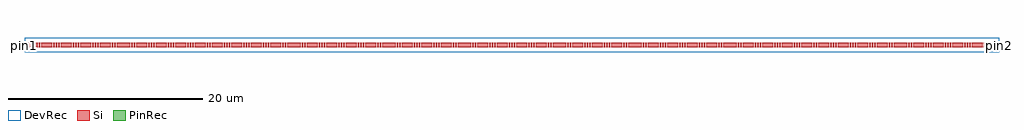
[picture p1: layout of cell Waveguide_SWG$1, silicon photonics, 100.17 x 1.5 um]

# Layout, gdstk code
import gdstk
lib = gdstk.Library(unit=1e-6, precision=1e-09)
def R(c, l, rs):  # rectangles x0, y0, x1, y1
    for r in rs: c.add(gdstk.rectangle(r[:2], r[2:], *l))
def A(c, l, x, y, w, h, nx, ny, dx, dy):  # array of equal rectangles
    R(c, l, [(x+i*dx, y+j*dy, x+i*dx+w, y+j*dy+h) for i in range(nx) for j in range(ny)])
Si = (1, 0)
PinRec = (1, 10)
DevRec = (68, 0)

waveguide_swg_1 = lib.new_cell('Waveguide_SWG$1')
A(waveguide_swg_1, Si, -0.088, -0.25, 0.175, 0.5, 401, 1, 0.25, 0)
R(waveguide_swg_1, DevRec, [(0,-0.75,100,0.75)])
waveguide_swg_1.add(gdstk.FlexPath([(0.01,0),(-0.01,0)], 0.5, ends="flush", simple_path=True, layer=1, datatype=10))  # PinRec
waveguide_swg_1.add(gdstk.FlexPath([(99.99,0),(100.01,0)], 0.5, ends="flush", simple_path=True, layer=1, datatype=10))  # PinRec
waveguide_swg_1.add(gdstk.Label('pin1', (0,0), layer=1, texttype=10))
waveguide_swg_1.add(gdstk.Label('pin2', (100,0), layer=1, texttype=10))
waveguide_swg_1.add(gdstk.Label('Lumerical_INTERCONNECT_library=Design kits/ebeam_v1.2', (0,0), layer=68, texttype=0))
waveguide_swg_1.add(gdstk.Label('Component=NO_MODEL_AVAILABLE', (10,0), layer=68, texttype=0))
waveguide_swg_1.add(gdstk.Label('Spice_param:length=100.000u target_period=0.250u grating_period=0.250u wg_width=0.500u duty=0.700 ', (11.111,-0.35), layer=68, texttype=0))

lib.write_gds('Waveguide_SWG_1.gds')
